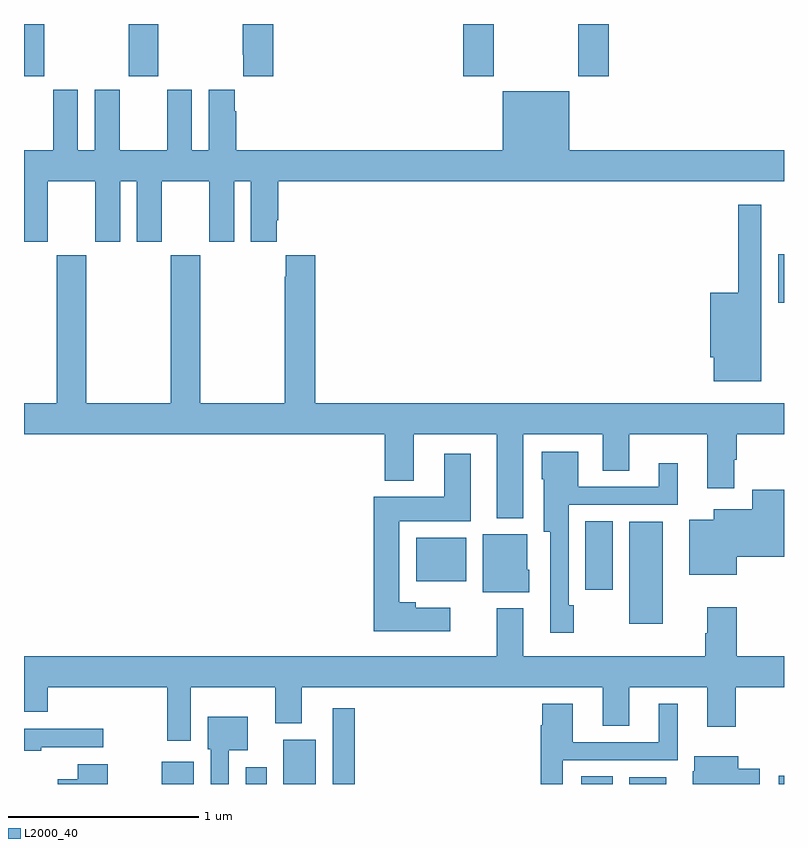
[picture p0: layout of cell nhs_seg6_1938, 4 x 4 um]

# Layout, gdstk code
import gdstk
lib = gdstk.Library(unit=1e-6, precision=1e-09)
def R(c, l, rs):  # rectangles x0, y0, x1, y1
    for r in rs: c.add(gdstk.rectangle(r[:2], r[2:], *l))
def P(c, l, *ps):  # polygons
    for p in ps: c.add(gdstk.Polygon(p, *l))
L2000_40 = (2000, 40)

nhs_seg6_1938 = lib.new_cell('nhs_seg6_1938')
R(nhs_seg6_1938, L2000_40, [(227.726,941.5,227.893,941.617), (228.167,941.5,228.277,941.587), (228.365,941.5,228.535,941.734), (228.624,941.5,228.74,941.899), (229.934,941.5,230.098,941.54), (230.186,941.5,230.38,941.536), (230.973,941.5,231,941.544), (230.186,942.344,230.362,942.88), (229.955,942.522,230.098,942.884), (229.064,942.566,229.327,942.796), (230.969,944.033,231,944.287), (227,945.225,227.106,945.5), (227.551,945.225,227.706,945.5), (229.313,945.225,229.473,945.5), (229.918,945.225,230.078,945.5)])
P(nhs_seg6_1938, L2000_40, [(228.311,945.5),(228.151,945.5),(228.151,945.337),(228.155,945.337),(228.155,945.225),(228.311,945.225)],
  [(228.116,945.041),(228.109,945.041),(228.109,945.154),(227.972,945.154),(227.972,944.836),(227.884,944.836),(227.884,945.154),(227.753,945.154),(227.753,944.836),(227.503,944.836),(227.503,945.154),(227.372,945.154),(227.372,944.836),(227.284,944.836),(227.284,945.154),(227.153,945.154),(227.153,944.836),(227,944.836),(227,944.355),(227.125,944.355),(227.125,944.672),(227.375,944.672),(227.375,944.355),(227.506,944.355),(227.506,944.672),(227.594,944.672),(227.594,944.355),(227.725,944.355),(227.725,944.672),(227.975,944.672),(227.975,944.355),(228.106,944.355),(228.106,944.672),(228.194,944.672),(228.194,944.355),(228.331,944.355),(228.331,944.467),(228.338,944.467),(228.338,944.672),(231,944.672),(231,944.836),(229.87,944.836),(229.87,945.145),(229.52,945.145),(229.52,944.836),(228.116,944.836)],
  [(230.881,944.548),(230.76,944.548),(230.76,944.086),(230.612,944.086),(230.612,943.746),(230.63,943.746),(230.63,943.619),(230.881,943.619)],
  [(228.533,944.284),(228.377,944.284),(228.377,944.171),(228.373,944.171),(228.373,943.504),(227.928,943.504),(227.928,944.284),(227.773,944.284),(227.773,943.504),(227.328,943.504),(227.328,944.284),(227.173,944.284),(227.173,943.504),(227,943.504),(227,943.34),(228.899,943.34),(228.899,943.097),(229.051,943.097),(229.051,943.34),(229.487,943.34),(229.487,942.899),(229.627,942.899),(229.627,943.34),(230.045,943.34),(230.045,943.15),(230.185,943.15),(230.185,943.34),(230.597,943.34),(230.597,943.056),(230.737,943.056),(230.737,943.206),(230.75,943.206),(230.75,943.34),(231,943.34),(231,943.504),(228.533,943.504)],
  [(229.893,942.441),(229.866,942.441),(229.866,942.969),(230.44,942.969),(230.44,943.189),(230.342,943.189),(230.342,943.065),(229.918,943.065),(229.918,943.249),(229.724,943.249),(229.724,943.104),(229.736,943.104),(229.736,942.827),(229.77,942.827),(229.77,942.297),(229.893,942.297)],
  [(229.243,942.427),(229.063,942.427),(229.063,942.457),(228.976,942.457),(228.976,942.884),(229.351,942.884),(229.351,943.237),(229.211,943.237),(229.211,943.012),(228.842,943.012),(228.842,942.305),(229.243,942.305)],
  [(230.752,942.695),(231,942.695),(231,943.048),(230.834,943.048),(230.834,942.946),(230.63,942.946),(230.63,942.892),(230.501,942.892),(230.501,942.602),(230.752,942.602)],
  [(229.66,942.627),(229.648,942.627),(229.648,942.814),(229.415,942.814),(229.415,942.509),(229.66,942.509)],
  [(227.878,942.008),(228.323,942.008),(228.323,941.819),(228.463,941.819),(228.463,942.008),(230.045,942.008),(230.045,941.806),(230.185,941.806),(230.185,942.008),(230.597,942.008),(230.597,941.802),(230.745,941.802),(230.745,942.008),(231,942.008),(231,942.172),(230.75,942.172),(230.75,942.43),(230.597,942.43),(230.597,942.293),(230.585,942.293),(230.585,942.172),(229.627,942.172),(229.627,942.424),(229.487,942.424),(229.487,942.172),(227,942.172),(227,941.88),(227.125,941.88),(227.125,942.008),(227.753,942.008),(227.753,941.727),(227.878,941.727)],
  [(229.836,941.625),(230.44,941.625),(230.44,941.923),(230.342,941.923),(230.342,941.721),(229.888,941.721),(229.888,941.923),(229.727,941.923),(229.727,941.81),(229.72,941.81),(229.72,941.5),(229.836,941.5)],
  [(228.078,941.678),(228.178,941.678),(228.178,941.854),(227.966,941.854),(227.966,941.682),(227.982,941.682),(227.982,941.5),(228.078,941.5)],
  [(227.092,941.694),(227.416,941.694),(227.416,941.79),(227,941.79),(227,941.674),(227.092,941.674)],
  [(230.872,941.58),(230.758,941.58),(230.758,941.647),(230.528,941.647),(230.528,941.568),(230.519,941.568),(230.519,941.5),(230.872,941.5)],
  [(227.44,941.605),(227.282,941.605),(227.282,941.524),(227.177,941.524),(227.177,941.5),(227.44,941.5)])

lib.write_gds('nhs_seg6_1938.gds')
